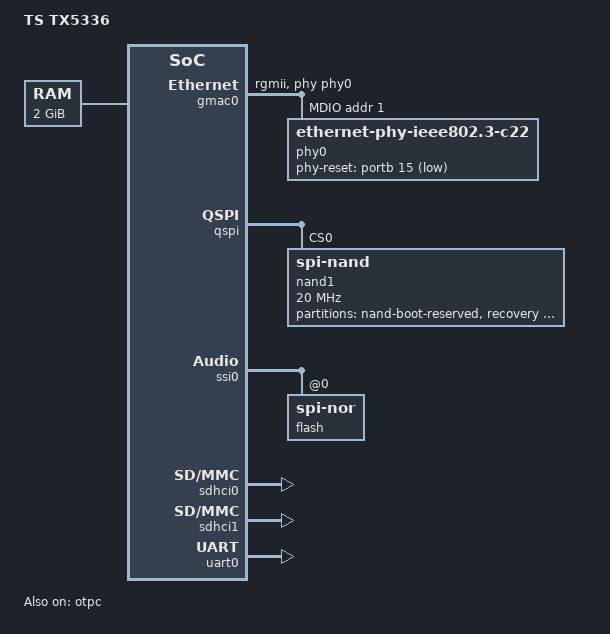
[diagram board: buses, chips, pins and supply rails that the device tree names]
// SPDX-License-Identifier: GPL-2.0+
/*
 * dts file for tsingmicro dt53
 *
 * Copyright 2022 Beijing Tsingmicro Intelligent Technology Co.,Ltd.
 *
 */

/dts-v1/;

#include "ts_tx5336.dtsi"
#include "ts-tx5336-clk.dtsi"
#include "ts-tx5336-reset.dtsi"
#include "ts-tx5336-pinctrl.dtsi"
#include <dt-bindings/input/input.h>
#include <dt-bindings/gpio/gpio.h>
#include <dt-bindings/phy/phy.h>


/ {
	model = "TS TX5336";
	compatible = "ts,tx5336";

	bd_info {
		/* Hardware Board Name. */
		BOARD-MODEL = "TX5336";
		/* Hardware Version Number. */
		BOARD-REVISION = "V1.0";
		/* Type - CPU - DDR - compile NO. - device NO. - Factory NO.-YYMM */
		BOARD-SERIAL = "FPGA-A53-0202-0000-T001-V1P0";
	};

	aliases {
		/*ethernet0 = &gem3;*/
		/* gpio0 = &gpio; */
		/*i2c0 = &i2c0;*/
		/*i2c1 = &i2c1;*/
		mmc0 = &sdhci0;
		sd0 = &sdhci1;
		/*rtc0 = &rtc;*/
		serial0 = &uart0;
		/*serial1 = &uart1;*/
		/*serial2 = &dcc;*/
		spi0 = &qspi;
		/*usb0 = &usb0;*/
		spi1 = &ssi0;
	};

	chosen {
		bootargs = "earlycon";
		stdout-path = "serial0:115200n8";
	};

	memory@0 {
		device_type = "memory";
		reg = <0x0 0x0 0x0 0x80000000>; //<0x8 0x00000000 0x0 0x80000000>;
	};
};

&otpc {
    status = "okay";
};

&gmac0 {
	status = "okay";
	phy-handle = <&phy0>;
	phy-mode = "rgmii";
	pinctrl-names = "default";
	pinctrl-0 = <&mac0_pinctrl0>, <&mac0_rst_pinctrl>;
	mdio {
		#address-cells = <0x1>;
		#size-cells = <0x0>;
		phy0: phy@0 {
			compatible = "ethernet-phy-ieee802.3-c22";
			device_type = "ethernet-phy";
			reg = <0x1>;
			phy-reset-gpios = <&portb 15 GPIO_ACTIVE_LOW>;
		};
	};
};

&gpio0 {
	status = "okay";
#if 0
    pinctrl-names = "default";
    pinctrl-0 = <&gpioa15_pinctrl>;
#endif
};

&gpio1 {
	status = "okay";
};

&gpio2 {
	status = "okay";
};

&pinctrl {
	status = "okay";
};

&qspi {
	status = "okay";
	page-size = <256>;
	block-size = <16>;
	#address-cells = <1>;
	#size-cells = <0>;

#if 0
    pinctrl-names = "default";
    pinctrl-0 = <&qspi_pinctrl>;
#endif

#if 1
	nand1:spi-nand@0 {
		status = "okay";
		compatible = "spi-nand";
		reg = <0>; /* CS0 */
		//spi-max-frequency = <40000000>;
		spi-max-frequency = <20000000>;
		page-size = <2048>;
		block-size = <131072>;
		spi-rx-bus-width = <4>;
		spi-tx-bus-width = <4>;

		partitions {
			compatible = "fixed-partitions";
			#address-cells = <1>;
			#size-cells = <1>;

			/* reserved for future boot direct from NAND flash
			 * (this would use the same layout as the 8MiB NOR flash)
			 */
			partition@0 {
				label = "nand-boot-reserved";
				reg = <0 0x800000>;
			};

			/* recovery / install environment */
			partition@800000 {
				label = "recovery";
				reg = <0x800000 0x2000000>;
			};

			/* ubia (first OpenWrt) - a/b names to prevent confusion with ubi0/1/etc. */
			partition@2800000 {
				label = "ubia";
				reg = <0x2800000 0x6C00000>;
			};

			/* ubib (second OpenWrt) */
			partition@9400000 {
				label = "ubib";
				reg = <0x9400000 0x6C00000>;
			};
		};
	};
#else
	spi-flash@0 {
		compatible = "jedec,spi-nor";
		spi-max-frequency = <51200000>; /* Based on DC1 spec */
		//reg = <1>; /* CS1 */
		reg = <0>; /* CS0 */
		spi-rx-bus-width = <4>;
		spi-tx-bus-width = <4>;
	};
#endif
};

&ssi0 {
	status = "okay";
	flash@0 {
		compatible = "jedec,spi-nor";
	};
};
/*
 * &rtc {
 *	status = "okay";
 * };
 */

&sdhci0 {
	status = "okay";
	pinctrl-names = "default";
	pinctrl-0 = <&sd0_pinctrl0>;
};
&sdhci1 {
	status = "okay";
	pinctrl-names = "default";
	pinctrl-0 = <&gpioc5_pinctrl>;
	sd-pwr-gpios = <&portc 5 GPIO_ACTIVE_LOW>;

};
/*
 * &uart0 {
 *	status = "okay";
 * };
 */
&uart0 {
	status = "okay";
};

/* ULPI SMSC USB3320 */
/*
 * &usb0 {
 *	status = "okay";
 * };
 */

/*
 * &dwc3_0 {
 *	status = "okay";
 *	dr_mode = "host";
 *	snps,usb3_lpm_capable;
 *	phy-names = "usb3-phy";
 *	phys = <&lane2 PHY_TYPE_USB3 0 2 26000000>;
 *};
 */

/*
 * &watchdog0 {
 * status = "okay";
 * };
 */

&nand0{
		nand-bus-width = <8>;
		nand-on-flash-bbt = <1>;
		nand-ecc-mode = "hw";
		nand-ecc-strength = <4>;
		nand-ecc-step-size = <512>;
		/*nand-ecc-maximize;*/
		status = "disabled";

		bootloader@0 {
			label = "bootloader";
			reg = <0x0 0x200000>;
		};

		bootloaderenv@200000 {
			label = "bootloader env";
			reg = <0x200000 0xc0000>;
		};

		kernel@400000 {
			label = "kernel";
			reg = <0x400000 0x600000>;
		};

		rootfs1@a00000 {
			label = "rootfs1";
			reg = <0xa00000 0x03000000>;
		};

		rootfs2@3a00000 {
			label = "rootfs2";
			reg = <0x3a00000 0x03000000>;
		};
		rootfs3@6a00000 {
			label = "rootfs3";
			reg = <0x6a00000 0x03000000>;
		};
		rootfs4@9a00000 {
			label = "rootfs4";
			reg = <0x9a00000 0x0f800000>;
		};
};

&otpc {
	status = "okay";
};
